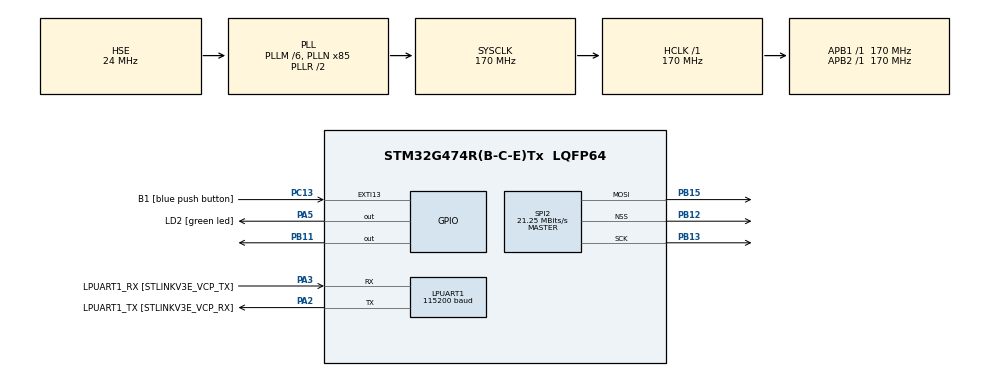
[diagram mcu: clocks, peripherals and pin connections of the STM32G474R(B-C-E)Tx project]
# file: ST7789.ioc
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Dma.Request0=SPI2_TX
Dma.SPI2_TX.0.Direction=DMA_MEMORY_TO_PERIPH
Dma.SPI2_TX.0.EventEnable=DISABLE
Dma.SPI2_TX.0.Instance=DMA1_Channel1
Dma.SPI2_TX.0.MemDataAlignment=DMA_MDATAALIGN_HALFWORD
Dma.SPI2_TX.0.MemInc=DMA_MINC_ENABLE
Dma.SPI2_TX.0.Mode=DMA_NORMAL
Dma.SPI2_TX.0.PeriphDataAlignment=DMA_PDATAALIGN_HALFWORD
Dma.SPI2_TX.0.PeriphInc=DMA_PINC_DISABLE
Dma.SPI2_TX.0.Polarity=HAL_DMAMUX_REQ_GEN_RISING
Dma.SPI2_TX.0.Priority=DMA_PRIORITY_LOW
Dma.SPI2_TX.0.RequestNumber=1
Dma.SPI2_TX.0.SignalID=NONE
Dma.SPI2_TX.0.SyncEnable=DISABLE
Dma.SPI2_TX.0.SyncPolarity=HAL_DMAMUX_SYNC_NO_EVENT
Dma.SPI2_TX.0.SyncRequestNumber=1
Dma.SPI2_TX.0.SyncSignalID=NONE
LPUART1.BaudRate=115200
LPUART1.WordLength=UART_WORDLENGTH_8B
Mcu.Family=STM32G4
Mcu.Name=STM32G474R(B-C-E)Tx
Mcu.Package=LQFP64
NVIC.DMA1_Channel1_IRQn=true\:0\:0\:false\:false\:true\:false\:true\:true
NVIC.EXTI15_10_IRQn=true\:0\:0\:false\:false\:true\:true\:true\:true
NVIC.PriorityGroup=NVIC_PRIORITYGROUP_4
PA13.GPIO_Label=T_SWDIO
PA13.Mode=Serial_Wire
PA13.Signal=SYS_JTMS-SWDIO
PA14.GPIO_Label=T_SWCLK
PA14.Mode=Serial_Wire
PA14.Signal=SYS_JTCK-SWCLK
PA2.GPIO_Label=LPUART1_TX [STLINKV3E_VCP_RX]
PA2.Mode=Asynchronous
PA2.Signal=LPUART1_TX
PA3.GPIO_Label=LPUART1_RX [STLINKV3E_VCP_TX]
PA3.Mode=Asynchronous
PA3.Signal=LPUART1_RX
PA5.GPIO_Label=LD2 [green led]
PA5.Signal=GPIO_Output
PB11.Signal=GPIO_Output
PB12.Mode=NSS_Signal_Hard_Output
PB12.Signal=SPI2_NSS
PB13.Mode=TX_Only_Simplex_Unidirect_Master
PB13.Signal=SPI2_SCK
PB15.Mode=TX_Only_Simplex_Unidirect_Master
PB15.Signal=SPI2_MOSI
PC13.GPIO_Label=B1 [blue push button]
PC13.Signal=GPXTI13
PC14-OSC32_IN.Mode=LSE-External-Oscillator
PC14-OSC32_IN.Signal=RCC_OSC32_IN
PC15-OSC32_OUT.Mode=LSE-External-Oscillator
PC15-OSC32_OUT.Signal=RCC_OSC32_OUT
PF0-OSC_IN.Mode=HSE-External-Oscillator
PF0-OSC_IN.Signal=RCC_OSC_IN
PF1-OSC_OUT.Mode=HSE-External-Oscillator
PF1-OSC_OUT.Signal=RCC_OSC_OUT
ProjectManager.HeapSize=0x200
ProjectManager.StackSize=0x400
ProjectManager.TargetToolchain=STM32CubeIDE
RCC.ADC12Freq_Value=170000000
RCC.ADC345Freq_Value=170000000
RCC.AHBFreq_Value=170000000
RCC.APB1Freq_Value=170000000
RCC.APB1TimFreq_Value=170000000
RCC.APB2Freq_Value=170000000
RCC.APB2TimFreq_Value=170000000
RCC.CortexFreq_Value=170000000
RCC.EXTERNAL_CLOCK_VALUE=12288000
RCC.HCLKFreq_Value=170000000
RCC.HSE_VALUE=24000000
RCC.HSI48_VALUE=48000000
RCC.HSI_VALUE=16000000
RCC.PLLM=RCC_PLLM_DIV6
RCC.PLLN=85
RCC.PLLSourceVirtual=RCC_PLLSOURCE_HSE
RCC.RTCClockSelection=RCC_RTCCLKSOURCE_LSE
RCC.SYSCLKFreq_VALUE=170000000
RCC.SYSCLKSource=RCC_SYSCLKSOURCE_PLLCLK
RCC.USBFreq_Value=170000000
RCC.VCOOutputFreq_Value=340000000
SPI2.BaudRatePrescaler=SPI_BAUDRATEPRESCALER_8
SPI2.CLKPolarity=SPI_POLARITY_LOW
SPI2.CalculateBaudRate=21.25 MBits/s
SPI2.DataSize=SPI_DATASIZE_9BIT
SPI2.Direction=SPI_DIRECTION_2LINES
SPI2.Mode=SPI_MODE_MASTER
SPI2.NSSPMode=SPI_NSS_PULSE_ENABLE
SPI2.VirtualNSS=VM_NSSHARD
SPI2.VirtualType=VM_MASTER
VP_SYS_VS_DBSignals.Mode=DisableDeadBatterySignals
board=NUCLEO-G474RE

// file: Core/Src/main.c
/* USER CODE BEGIN Header */
/**
  ******************************************************************************
  * @file           : main.c
  * @brief          : Main program body
  ******************************************************************************
  * @attention
  *
  * Copyright (c) 2024 STMicroelectronics.
  * All rights reserved.
  *
  * This software is licensed under terms that can be found in the LICENSE file
  * in the root directory of this software component.
  * If no LICENSE file comes with this software, it is provided AS-IS.
  *
  ******************************************************************************
  */
/* USER CODE END Header */
#include "main.h"

UART_HandleTypeDef hlpuart1;

SPI_HandleTypeDef hspi2;
DMA_HandleTypeDef hdma_spi2_tx;

void SystemClock_Config(void);
static void MX_GPIO_Init(void);
static void MX_DMA_Init(void);
static void MX_LPUART1_UART_Init(void);
static void MX_SPI2_Init(void);

/* USER CODE BEGIN 0 */
#include <stdio.h>
#include "st7789.h"
#include "small.h"
#include "color.h"
#include "small_lvgl.h"
#include "color_lvgl.h"

int __io_putchar(int ch)
{
  if (HAL_UART_Transmit(&hlpuart1, (uint8_t*)&ch, 1, 0xFFFF) != 0) {
    return -1;
  }
  return ch;
}
/* USER CODE END 0 */

int main(void)
{

  /* MCU Configuration--------------------------------------------------------*/

  /* Reset of all peripherals, Initializes the Flash interface and the Systick. */
  HAL_Init();

  /* Configure the system clock */
  SystemClock_Config();

  /* Initialize all configured peripherals */
  MX_GPIO_Init();
  MX_DMA_Init();
  MX_LPUART1_UART_Init();
  MX_SPI2_Init();
  /* USER CODE BEGIN 2 */
  ST7789_Init();

  /* USER CODE END 2 */

  /* Infinite loop */
  /* USER CODE BEGIN WHILE */
  uint32_t count = 0;
  while (1)
  {
    printf("Count = %ld\r\n", count++);
    // HAL_Delay(100);
    ST7789_DrawImage(0, 0, 320, 240, (uint16_t *)cimg);
    HAL_Delay(500);
    ST7789_DrawImage(0, 0, 320, 240, (uint16_t *)img);
    HAL_Delay(500);
    /* USER CODE END WHILE */

  }
}

void SystemClock_Config(void)
{
  RCC_OscInitTypeDef RCC_OscInitStruct = {0};
  RCC_ClkInitTypeDef RCC_ClkInitStruct = {0};

  /** Configure the main internal regulator output voltage
  */
  HAL_PWREx_ControlVoltageScaling(PWR_REGULATOR_VOLTAGE_SCALE1_BOOST);

  /** Initializes the RCC Oscillators according to the specified parameters
  * in the RCC_OscInitTypeDef structure.
  */
  RCC_OscInitStruct.OscillatorType = RCC_OSCILLATORTYPE_HSE;
  RCC_OscInitStruct.HSEState = RCC_HSE_ON;
  RCC_OscInitStruct.PLL.PLLState = RCC_PLL_ON;
  RCC_OscInitStruct.PLL.PLLSource = RCC_PLLSOURCE_HSE;
  RCC_OscInitStruct.PLL.PLLM = RCC_PLLM_DIV6;
  RCC_OscInitStruct.PLL.PLLN = 85;
  RCC_OscInitStruct.PLL.PLLP = RCC_PLLP_DIV2;
  RCC_OscInitStruct.PLL.PLLQ = RCC_PLLQ_DIV2;
  RCC_OscInitStruct.PLL.PLLR = RCC_PLLR_DIV2;
  if (HAL_RCC_OscConfig(&RCC_OscInitStruct) != HAL_OK)
  {
    Error_Handler();
  }

  /** Initializes the CPU, AHB and APB buses clocks
  */
  RCC_ClkInitStruct.ClockType = RCC_CLOCKTYPE_HCLK|RCC_CLOCKTYPE_SYSCLK
                              |RCC_CLOCKTYPE_PCLK1|RCC_CLOCKTYPE_PCLK2;
  RCC_ClkInitStruct.SYSCLKSource = RCC_SYSCLKSOURCE_PLLCLK;
  RCC_ClkInitStruct.AHBCLKDivider = RCC_SYSCLK_DIV1;
  RCC_ClkInitStruct.APB1CLKDivider = RCC_HCLK_DIV1;
  RCC_ClkInitStruct.APB2CLKDivider = RCC_HCLK_DIV1;

  if (HAL_RCC_ClockConfig(&RCC_ClkInitStruct, FLASH_LATENCY_4) != HAL_OK)
  {
    Error_Handler();
  }
}

static void MX_LPUART1_UART_Init(void)
{

  hlpuart1.Instance = LPUART1;
  hlpuart1.Init.BaudRate = 115200;
  hlpuart1.Init.WordLength = UART_WORDLENGTH_8B;
  hlpuart1.Init.StopBits = UART_STOPBITS_1;
  hlpuart1.Init.Parity = UART_PARITY_NONE;
  hlpuart1.Init.Mode = UART_MODE_TX_RX;
  hlpuart1.Init.HwFlowCtl = UART_HWCONTROL_NONE;
  hlpuart1.Init.OneBitSampling = UART_ONE_BIT_SAMPLE_DISABLE;
  hlpuart1.Init.ClockPrescaler = UART_PRESCALER_DIV1;
  hlpuart1.AdvancedInit.AdvFeatureInit = UART_ADVFEATURE_NO_INIT;
  if (HAL_UART_Init(&hlpuart1) != HAL_OK)
  {
    Error_Handler();
  }
  if (HAL_UARTEx_SetTxFifoThreshold(&hlpuart1, UART_TXFIFO_THRESHOLD_1_8) != HAL_OK)
  {
    Error_Handler();
  }
  if (HAL_UARTEx_SetRxFifoThreshold(&hlpuart1, UART_RXFIFO_THRESHOLD_1_8) != HAL_OK)
  {
    Error_Handler();
  }
  if (HAL_UARTEx_DisableFifoMode(&hlpuart1) != HAL_OK)
  {
    Error_Handler();
  }

}

static void MX_SPI2_Init(void)
{

  /* SPI2 parameter configuration*/
  hspi2.Instance = SPI2;
  hspi2.Init.Mode = SPI_MODE_MASTER;
  hspi2.Init.Direction = SPI_DIRECTION_2LINES;
  hspi2.Init.DataSize = SPI_DATASIZE_9BIT;
  hspi2.Init.CLKPolarity = SPI_POLARITY_LOW;
  hspi2.Init.CLKPhase = SPI_PHASE_1EDGE;
  hspi2.Init.NSS = SPI_NSS_HARD_OUTPUT;
  hspi2.Init.BaudRatePrescaler = SPI_BAUDRATEPRESCALER_8;
  hspi2.Init.FirstBit = SPI_FIRSTBIT_MSB;
  hspi2.Init.TIMode = SPI_TIMODE_DISABLE;
  hspi2.Init.CRCCalculation = SPI_CRCCALCULATION_DISABLE;
  hspi2.Init.CRCPolynomial = 7;
  hspi2.Init.CRCLength = SPI_CRC_LENGTH_DATASIZE;
  hspi2.Init.NSSPMode = SPI_NSS_PULSE_ENABLE;
  if (HAL_SPI_Init(&hspi2) != HAL_OK)
  {
    Error_Handler();
  }

}

static void MX_DMA_Init(void)
{

  /* DMA controller clock enable */
  __HAL_RCC_DMAMUX1_CLK_ENABLE();
  __HAL_RCC_DMA1_CLK_ENABLE();

  /* DMA interrupt init */
  /* DMA1_Channel1_IRQn interrupt configuration */
  HAL_NVIC_SetPriority(DMA1_Channel1_IRQn, 0, 0);
  HAL_NVIC_EnableIRQ(DMA1_Channel1_IRQn);

}

static void MX_GPIO_Init(void)
{
  GPIO_InitTypeDef GPIO_InitStruct = {0};

  /* GPIO Ports Clock Enable */
  __HAL_RCC_GPIOC_CLK_ENABLE();
  __HAL_RCC_GPIOF_CLK_ENABLE();
  __HAL_RCC_GPIOA_CLK_ENABLE();
  __HAL_RCC_GPIOB_CLK_ENABLE();

  /*Configure GPIO pin Output Level */
  HAL_GPIO_WritePin(LD2_GPIO_Port, LD2_Pin, GPIO_PIN_RESET);

  /*Configure GPIO pin Output Level */
  HAL_GPIO_WritePin(GPIOB, GPIO_PIN_11, GPIO_PIN_RESET);

  /*Configure GPIO pin : B1_Pin */
  GPIO_InitStruct.Pin = B1_Pin;
  GPIO_InitStruct.Mode = GPIO_MODE_IT_RISING;
  GPIO_InitStruct.Pull = GPIO_NOPULL;
  HAL_GPIO_Init(B1_GPIO_Port, &GPIO_InitStruct);

  /*Configure GPIO pin : LD2_Pin */
  GPIO_InitStruct.Pin = LD2_Pin;
  GPIO_InitStruct.Mode = GPIO_MODE_OUTPUT_PP;
  GPIO_InitStruct.Pull = GPIO_NOPULL;
  GPIO_InitStruct.Speed = GPIO_SPEED_FREQ_LOW;
  HAL_GPIO_Init(LD2_GPIO_Port, &GPIO_InitStruct);

  /*Configure GPIO pin : PB11 */
  GPIO_InitStruct.Pin = GPIO_PIN_11;
  GPIO_InitStruct.Mode = GPIO_MODE_OUTPUT_PP;
  GPIO_InitStruct.Pull = GPIO_NOPULL;
  GPIO_InitStruct.Speed = GPIO_SPEED_FREQ_LOW;
  HAL_GPIO_Init(GPIOB, &GPIO_InitStruct);

  /* EXTI interrupt init*/
  HAL_NVIC_SetPriority(EXTI15_10_IRQn, 0, 0);
  HAL_NVIC_EnableIRQ(EXTI15_10_IRQn);

}

void Error_Handler(void)
{
  __disable_irq();
  while (1)
  {
  }
}
